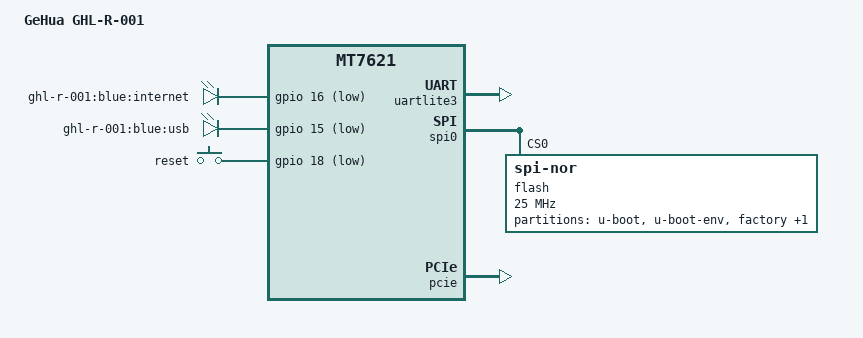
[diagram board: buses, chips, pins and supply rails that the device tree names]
// SPDX-License-Identifier: GPL-2.0-or-later OR MIT
/dts-v1/;

#include "mt7621.dtsi"

#include <dt-bindings/gpio/gpio.h>
#include <dt-bindings/input/input.h>

/ {
	compatible = "gehua,ghl-r-001", "mediatek,mt7621-soc";
	model = "GeHua GHL-R-001";

	chosen {
		bootargs = "console=ttyS0,57600";
	};

	leds {
		compatible = "gpio-leds";

		internet {
			label = "ghl-r-001:blue:internet";
			gpios = <&gpio 16 GPIO_ACTIVE_LOW>;
		};

		usb {
			label = "ghl-r-001:blue:usb";
			gpios = <&gpio 15 GPIO_ACTIVE_LOW>;
			trigger-sources = <&xhci_ehci_port1>, <&ehci_port2>;
			linux,default-trigger = "usbport";
		};
	};

	keys {
		compatible = "gpio-keys";

		reset {
			label = "reset";
			gpios = <&gpio 18 GPIO_ACTIVE_LOW>;
			linux,code = <KEY_RESTART>;
		};
	};
};

&uartlite3 {
	status = "okay";
};

&spi0 {
	status = "okay";

	flash@0 {
		compatible = "jedec,spi-nor";
		reg = <0>;
		spi-max-frequency = <25000000>;
		broken-flash-reset;
		m25p,fast-read;

		partitions {
			compatible = "fixed-partitions";
			#address-cells = <1>;
			#size-cells = <1>;

			partition@0 {
				label = "u-boot";
				reg = <0x0 0x30000>;
				read-only;
			};

			partition@30000 {
				label = "u-boot-env";
				reg = <0x30000 0x10000>;
				read-only;
			};

			factory: partition@40000 {
				label = "factory";
				reg = <0x40000 0x10000>;
				read-only;
			};

			partition@50000 {
				compatible = "denx,uimage";
				label = "firmware";
				reg = <0x50000 0x1fb0000>;
			};
		};
	};
};

&pcie {
	status = "okay";
};

&pcie0 {
	wifi@0,0 {
		reg = <0x0000 0 0 0 0>;
		mediatek,mtd-eeprom = <&factory 0x0000>;
	};
};

&pcie1 {
	wifi@0,0 {
		reg = <0x0000 0 0 0 0>;
		mediatek,mtd-eeprom = <&factory 0x8000>;
		ieee80211-freq-limit = <5000000 6000000>;

		led {
			led-sources = <2>;
			led-active-low;
		};
	};
};

&gmac0 {
	mtd-mac-address = <&factory 0xe000>;
};

&switch0 {
	ports {
		port@0 {
			status = "okay";
			label = "lan1";
		};

		port@1 {
			status = "okay";
			label = "lan2";
		};

		port@2 {
			status = "okay";
			label = "lan3";
		};

		port@4 {
			status = "okay";
			label = "wan";
			mtd-mac-address = <&factory 0xe000>;
			mtd-mac-address-increment = <1>;
		};
	};
};

&state_default {
	gpio {
		groups = "jtag", "wdt";
		function = "gpio";
	};
};
